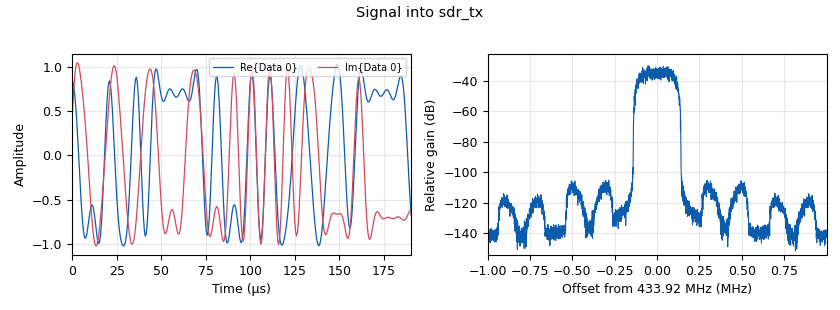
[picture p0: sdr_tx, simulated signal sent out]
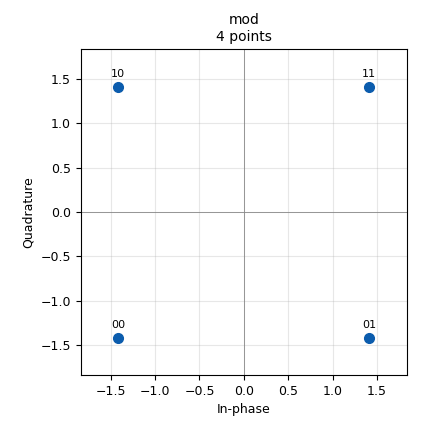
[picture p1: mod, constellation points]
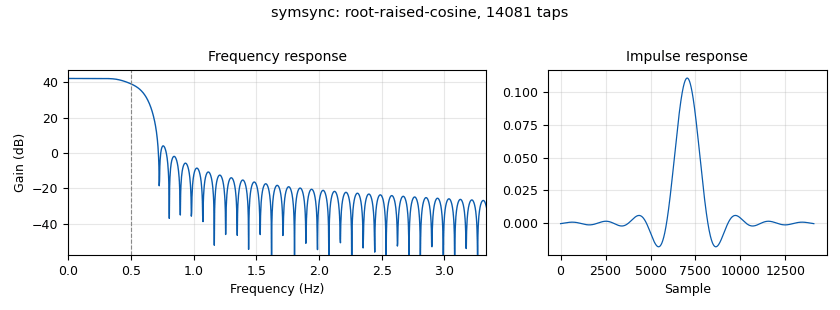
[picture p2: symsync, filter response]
options:
  parameters:
    author: Lab5
    generate_options: qt_gui
    id: lab5_2_7_8_qpsk_sdr
    output_language: python
    title: ЛР5 п.2.7.8  QPSK через SDR (HackRF -> RTL-SDR)
  states: {}

blocks:
- name: samp_rate
  id: variable
  parameters:
    value: 2e6
  states: {}
- name: sps
  id: variable
  parameters:
    value: '10'
  states: {}
- name: alpha
  id: variable
  parameters:
    value: '0.4'
  states: {}
- name: Rs
  id: variable
  parameters:
    value: samp_rate/sps
  states: {}
- name: psk
  id: variable_constellation
  parameters:
    precision: '8'
    type: qpsk
  states: {}
- name: src
  id: analog_random_uniform_source_x
  parameters:
    seed: '0'
    type: byte
    minimum: '0'
    maximum: '2'
  states: {}
- name: pack
  id: blocks_unpacked_to_packed_xx
  parameters:
    bits_per_chunk: '1'
    type: byte
    endianness: gr.GR_MSB_FIRST
  states: {}
- name: mod
  id: digital_constellation_modulator
  parameters:
    differential: 'False'
    samples_per_symbol: sps
    excess_bw: alpha
    constellation: psk
  states: {}
- name: center_freq
  id: variable
  parameters:
    value: 433.92e6
  states: {}
- name: tx_gain
  id: variable_qtgui_range
  parameters:
    value: '0'
    start: '0'
    stop: '47'
    step: '1'
    label: '"TX gain (HackRF), дБ"'
  states: {}
- name: rx_gain
  id: variable_qtgui_range
  parameters:
    value: '30'
    start: '0'
    stop: '49'
    step: '1'
    label: '"RX gain (RTL-SDR), дБ"'
  states: {}
- name: ppm
  id: variable_qtgui_range
  parameters:
    value: '0'
    start: '-100'
    stop: '100'
    step: '1'
    label: '"RX ppm"'
  states: {}
- name: blocks_multiply_const_vxx_0
  id: blocks_multiply_const_vxx
  parameters:
    const: '0.5'
    type: complex
  states: {}
- name: sdr_tx
  id: osmosdr_sink
  parameters:
    args: '"numchan=1 hackrf=0"'
    sample_rate: samp_rate
    freq0: center_freq
    gain0: tx_gain
    if_gain0: '20'
    bb_gain0: '20'
  states: {}
- name: sdr_rx
  id: osmosdr_source
  parameters:
    args: '"numchan=1 rtl=0"'
    sample_rate: samp_rate
    freq0: center_freq
    corr0: ppm
    dc_offset_mode0: '2'
    iq_balance_mode0: '2'
    gain_mode0: 'False'
    gain0: rx_gain
    if_gain0: '20'
    bb_gain0: '20'
  states: {}
- name: analog_agc_xx_0
  id: analog_agc_xx
  parameters:
    rate: '1e-4'
    reference: '1.0'
    gain: '1.0'
    max_gain: '65536'
    type: complex
  states: {}
- name: qtgui_freq_sink_x_0
  id: qtgui_freq_sink_x
  parameters:
    type: complex
    name: '"Спектр переданного сигнала"'
    fftsize: '8192'
    fc: '0'
    bw: samp_rate
    grid: 'True'
    average: '0.1'
  states: {}
- name: qtgui_time_sink_x_0
  id: qtgui_time_sink_x
  parameters:
    type: complex
    name: '"Временное представление сигнала"'
    size: '1024'
    srate: samp_rate
    grid: 'True'
    ymin: '-1.5'
    ymax: '1.5'
    tr_slope: qtgui.TRIG_MODE_POS
  states: {}
- name: qtgui_const_sink_x_0
  id: qtgui_const_sink_x
  parameters:
    type: complex
    name: '"Созвездие принятого сигнала"'
    size: '1024'
    grid: 'True'
    tr_slope: qtgui.TRIG_MODE_POS
  states: {}
- name: fll
  id: digital_fll_band_edge_cc
  parameters:
    type: cc
    samps_per_sym: sps
    rolloff: alpha
    filter_size: '44'
    w: '0.00628'
  states: {}
- name: symsync
  id: digital_symbol_sync_xx
  parameters:
    constellation: psk
    sps: sps
    ted_gain: '1.0'
    loop_bw: '0.045'
    damping: '1'
    max_dev: '1.5'
    osps: '1'
    nfilters: '128'
    pfb_mf_taps: firdes.root_raised_cosine(128, 128*sps, 1.0, alpha, 11*sps*128)
    type: cc
    ted_type: digital.TED_GARDNER
    resamp_type: digital.IR_PFB_MF
  states: {}
- name: eye
  id: qtgui_eye_sink_x
  parameters:
    type: complex
    size: '2048'
    samp_per_symbol: sps
    srate: samp_rate
    grid: 'True'
    autoscale: 'True'
    ymin: '-2'
    ymax: '2'
    tr_slope: qtgui.TRIG_MODE_POS
  states: {}
- name: costas
  id: digital_costas_loop_cc
  parameters:
    w: '0.0628'
    order: '4'
  states: {}
- name: qtgui_const_sink_x_1
  id: qtgui_const_sink_x
  parameters:
    type: complex
    name: '"Созвездие синхронизированного сигнала"'
    size: '1024'
    grid: 'True'
    tr_slope: qtgui.TRIG_MODE_POS
  states: {}

connections:
- [src, '0', pack, '0']
- [pack, '0', mod, '0']
- [mod, '0', blocks_multiply_const_vxx_0, '0']
- [blocks_multiply_const_vxx_0, '0', sdr_tx, '0']
- [sdr_rx, '0', analog_agc_xx_0, '0']
- [sdr_rx, '0', qtgui_freq_sink_x_0, '0']
- [sdr_rx, '0', qtgui_time_sink_x_0, '0']
- [analog_agc_xx_0, '0', qtgui_const_sink_x_0, '0']
- [analog_agc_xx_0, '0', fll, '0']
- [fll, '0', symsync, '0']
- [symsync, '0', eye, '0']
- [symsync, '0', costas, '0']
- [costas, '0', qtgui_const_sink_x_1, '0']

metadata:
  file_format: 1
  grc_version: 3.10.12.0
